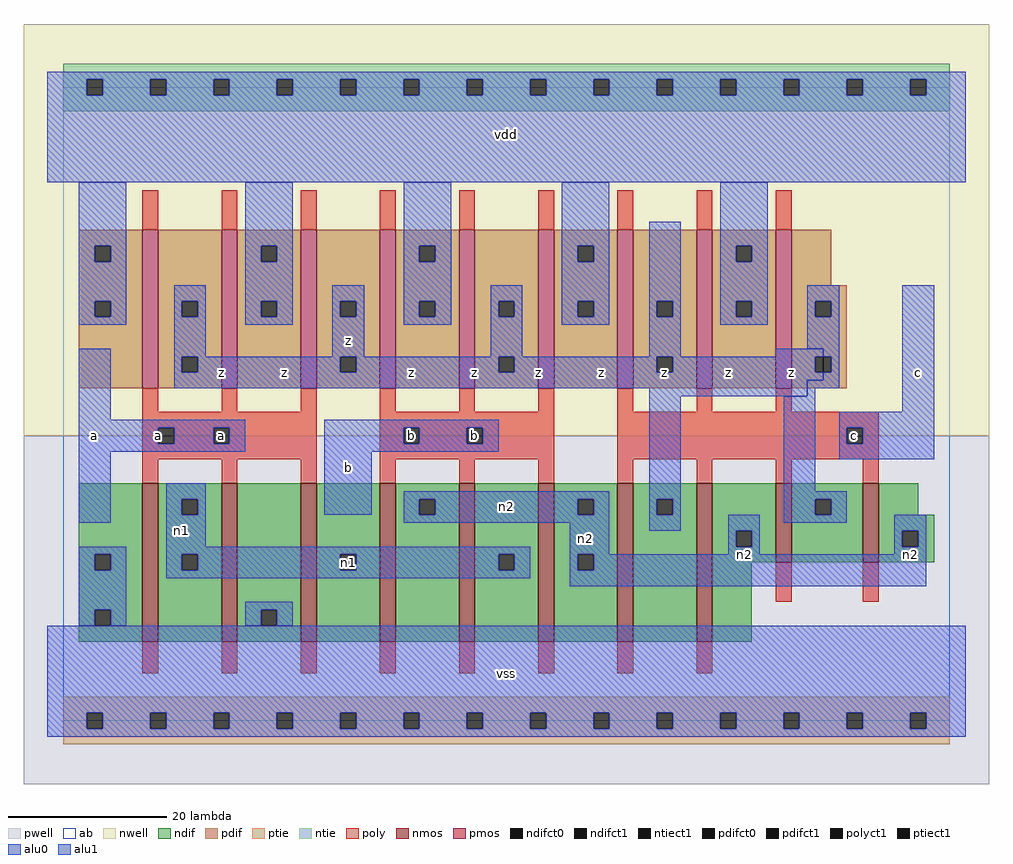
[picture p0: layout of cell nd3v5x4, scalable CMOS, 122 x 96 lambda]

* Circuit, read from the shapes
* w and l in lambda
.subckt nd3v5x4 a b c n1 n2 vdd vss z
M1 n1 a vss vss nfet w=20 l=2 m=3
M2 n2 b n1 vss nfet w=20 l=2 m=3
M3 z c n2 vss nfet w=20 l=2 m=2
M4 z c n2 vss nfet w=10 l=2 m=2
M5 z a vdd vdd pfet w=20 l=2 m=3
M6 vdd b z vdd pfet w=20 l=2 m=3
M7 z c vdd vdd pfet w=20 l=2 m=3
.ends

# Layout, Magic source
magic
tech scmos
<< ab >>
rect 0 0 112 80
<< nwell >>
rect -5 36 117 88
<< pwell >>
rect -5 -8 117 36
<< poly >>
rect 10 62 12 67
rect 20 62 22 67
rect 30 62 32 67
rect 40 62 42 67
rect 50 62 52 67
rect 60 62 62 67
rect 70 62 72 67
rect 80 62 82 67
rect 90 62 92 67
rect 10 39 12 42
rect 20 39 22 42
rect 30 39 32 42
rect 10 37 32 39
rect 10 35 12 37
rect 14 35 19 37
rect 21 35 32 37
rect 10 33 32 35
rect 10 30 12 33
rect 20 30 22 33
rect 30 30 32 33
rect 40 39 42 42
rect 50 39 52 42
rect 60 39 62 42
rect 40 37 62 39
rect 40 35 43 37
rect 45 35 51 37
rect 53 35 62 37
rect 40 33 62 35
rect 40 30 42 33
rect 50 30 52 33
rect 60 30 62 33
rect 70 39 72 42
rect 80 39 82 42
rect 90 39 92 42
rect 70 37 103 39
rect 70 35 99 37
rect 101 35 103 37
rect 70 33 103 35
rect 70 30 72 33
rect 80 30 82 33
rect 90 30 92 33
rect 101 30 103 33
rect 90 15 92 20
rect 101 15 103 20
rect 10 6 12 10
rect 20 6 22 10
rect 30 6 32 10
rect 40 6 42 10
rect 50 6 52 10
rect 60 6 62 10
rect 70 6 72 10
rect 80 6 82 10
<< ndif >>
rect 2 21 10 30
rect 2 19 4 21
rect 6 19 10 21
rect 2 14 10 19
rect 2 12 4 14
rect 6 12 10 14
rect 2 10 10 12
rect 12 28 20 30
rect 12 26 15 28
rect 17 26 20 28
rect 12 21 20 26
rect 12 19 15 21
rect 17 19 20 21
rect 12 10 20 19
rect 22 14 30 30
rect 22 12 25 14
rect 27 12 30 14
rect 22 10 30 12
rect 32 21 40 30
rect 32 19 35 21
rect 37 19 40 21
rect 32 10 40 19
rect 42 28 50 30
rect 42 26 45 28
rect 47 26 50 28
rect 42 10 50 26
rect 52 21 60 30
rect 52 19 55 21
rect 57 19 60 21
rect 52 10 60 19
rect 62 28 70 30
rect 62 26 65 28
rect 67 26 70 28
rect 62 21 70 26
rect 62 19 65 21
rect 67 19 70 21
rect 62 10 70 19
rect 72 28 80 30
rect 72 26 75 28
rect 77 26 80 28
rect 72 10 80 26
rect 82 24 90 30
rect 82 22 85 24
rect 87 22 90 24
rect 82 20 90 22
rect 92 28 101 30
rect 92 26 95 28
rect 97 26 101 28
rect 92 20 101 26
rect 103 26 108 30
rect 103 24 110 26
rect 103 22 106 24
rect 108 22 110 24
rect 103 20 110 22
rect 82 10 87 20
<< pdif >>
rect 2 60 10 62
rect 2 58 4 60
rect 6 58 10 60
rect 2 53 10 58
rect 2 51 4 53
rect 6 51 10 53
rect 2 42 10 51
rect 12 53 20 62
rect 12 51 15 53
rect 17 51 20 53
rect 12 46 20 51
rect 12 44 15 46
rect 17 44 20 46
rect 12 42 20 44
rect 22 60 30 62
rect 22 58 25 60
rect 27 58 30 60
rect 22 53 30 58
rect 22 51 25 53
rect 27 51 30 53
rect 22 42 30 51
rect 32 53 40 62
rect 32 51 35 53
rect 37 51 40 53
rect 32 46 40 51
rect 32 44 35 46
rect 37 44 40 46
rect 32 42 40 44
rect 42 60 50 62
rect 42 58 45 60
rect 47 58 50 60
rect 42 53 50 58
rect 42 51 45 53
rect 47 51 50 53
rect 42 42 50 51
rect 52 53 60 62
rect 52 51 55 53
rect 57 51 60 53
rect 52 46 60 51
rect 52 44 55 46
rect 57 44 60 46
rect 52 42 60 44
rect 62 60 70 62
rect 62 58 65 60
rect 67 58 70 60
rect 62 53 70 58
rect 62 51 65 53
rect 67 51 70 53
rect 62 42 70 51
rect 72 53 80 62
rect 72 51 75 53
rect 77 51 80 53
rect 72 46 80 51
rect 72 44 75 46
rect 77 44 80 46
rect 72 42 80 44
rect 82 60 90 62
rect 82 58 85 60
rect 87 58 90 60
rect 82 53 90 58
rect 82 51 85 53
rect 87 51 90 53
rect 82 42 90 51
rect 92 55 97 62
rect 92 53 99 55
rect 92 51 95 53
rect 97 51 99 53
rect 92 46 99 51
rect 92 44 95 46
rect 97 44 99 46
rect 92 42 99 44
<< alu1 >>
rect -2 81 114 82
rect -2 79 3 81
rect 5 79 11 81
rect 13 79 19 81
rect 21 79 27 81
rect 29 79 35 81
rect 37 79 43 81
rect 45 79 51 81
rect 53 79 59 81
rect 61 79 67 81
rect 69 79 75 81
rect 77 79 83 81
rect 85 79 91 81
rect 93 79 99 81
rect 101 79 107 81
rect 109 79 114 81
rect -2 68 114 79
rect 14 53 18 55
rect 14 51 15 53
rect 17 51 18 53
rect 2 38 6 47
rect 14 46 18 51
rect 34 53 38 55
rect 34 51 35 53
rect 37 51 38 53
rect 34 46 38 51
rect 54 53 58 55
rect 54 51 55 53
rect 57 51 58 53
rect 54 46 58 51
rect 74 53 78 63
rect 74 51 75 53
rect 77 51 78 53
rect 74 46 78 51
rect 90 46 96 47
rect 14 44 15 46
rect 17 44 35 46
rect 37 44 55 46
rect 57 44 75 46
rect 77 44 95 46
rect 14 43 96 44
rect 14 42 94 43
rect 74 41 94 42
rect 2 37 23 38
rect 2 35 12 37
rect 14 35 19 37
rect 21 35 23 37
rect 2 34 23 35
rect 33 37 55 38
rect 33 35 43 37
rect 45 35 51 37
rect 53 35 55 37
rect 33 34 55 35
rect 2 25 6 34
rect 33 26 39 34
rect 74 28 78 41
rect 74 26 75 28
rect 77 26 78 28
rect 106 39 110 55
rect 98 37 110 39
rect 98 35 99 37
rect 101 35 110 37
rect 98 33 110 35
rect 74 24 78 26
rect -2 1 114 12
rect -2 -1 3 1
rect 5 -1 11 1
rect 13 -1 19 1
rect 21 -1 27 1
rect 29 -1 35 1
rect 37 -1 43 1
rect 45 -1 51 1
rect 53 -1 59 1
rect 61 -1 67 1
rect 69 -1 75 1
rect 77 -1 83 1
rect 85 -1 91 1
rect 93 -1 99 1
rect 101 -1 107 1
rect 109 -1 114 1
rect -2 -2 114 -1
<< ptie >>
rect 0 1 112 3
rect 0 -1 3 1
rect 5 -1 11 1
rect 13 -1 19 1
rect 21 -1 27 1
rect 29 -1 35 1
rect 37 -1 43 1
rect 45 -1 51 1
rect 53 -1 59 1
rect 61 -1 67 1
rect 69 -1 75 1
rect 77 -1 83 1
rect 85 -1 91 1
rect 93 -1 99 1
rect 101 -1 107 1
rect 109 -1 112 1
rect 0 -3 112 -1
<< ntie >>
rect 0 81 112 83
rect 0 79 3 81
rect 5 79 11 81
rect 13 79 19 81
rect 21 79 27 81
rect 29 79 35 81
rect 37 79 43 81
rect 45 79 51 81
rect 53 79 59 81
rect 61 79 67 81
rect 69 79 75 81
rect 77 79 83 81
rect 85 79 91 81
rect 93 79 99 81
rect 101 79 107 81
rect 109 79 112 81
rect 0 77 112 79
<< nmos >>
rect 10 10 12 30
rect 20 10 22 30
rect 30 10 32 30
rect 40 10 42 30
rect 50 10 52 30
rect 60 10 62 30
rect 70 10 72 30
rect 80 10 82 30
rect 90 20 92 30
rect 101 20 103 30
<< pmos >>
rect 10 42 12 62
rect 20 42 22 62
rect 30 42 32 62
rect 40 42 42 62
rect 50 42 52 62
rect 60 42 62 62
rect 70 42 72 62
rect 80 42 82 62
rect 90 42 92 62
<< polyct1 >>
rect 12 35 14 37
rect 19 35 21 37
rect 43 35 45 37
rect 51 35 53 37
rect 99 35 101 37
<< ndifct0 >>
rect 4 19 6 21
rect 4 12 6 14
rect 15 26 17 28
rect 15 19 17 21
rect 25 12 27 14
rect 35 19 37 21
rect 45 26 47 28
rect 55 19 57 21
rect 65 26 67 28
rect 65 19 67 21
rect 85 22 87 24
rect 95 26 97 28
rect 106 22 108 24
<< ndifct1 >>
rect 75 26 77 28
<< ntiect1 >>
rect 3 79 5 81
rect 11 79 13 81
rect 19 79 21 81
rect 27 79 29 81
rect 35 79 37 81
rect 43 79 45 81
rect 51 79 53 81
rect 59 79 61 81
rect 67 79 69 81
rect 75 79 77 81
rect 83 79 85 81
rect 91 79 93 81
rect 99 79 101 81
rect 107 79 109 81
<< ptiect1 >>
rect 3 -1 5 1
rect 11 -1 13 1
rect 19 -1 21 1
rect 27 -1 29 1
rect 35 -1 37 1
rect 43 -1 45 1
rect 51 -1 53 1
rect 59 -1 61 1
rect 67 -1 69 1
rect 75 -1 77 1
rect 83 -1 85 1
rect 91 -1 93 1
rect 99 -1 101 1
rect 107 -1 109 1
<< pdifct0 >>
rect 4 58 6 60
rect 4 51 6 53
rect 25 58 27 60
rect 25 51 27 53
rect 45 58 47 60
rect 45 51 47 53
rect 65 58 67 60
rect 65 51 67 53
rect 85 58 87 60
rect 85 51 87 53
rect 95 51 97 53
rect 96 44 97 46
<< pdifct1 >>
rect 15 51 17 53
rect 15 44 17 46
rect 35 51 37 53
rect 35 44 37 46
rect 55 51 57 53
rect 55 44 57 46
rect 75 51 77 53
rect 75 44 77 46
rect 95 44 96 46
<< alu0 >>
rect 2 60 8 68
rect 2 58 4 60
rect 6 58 8 60
rect 2 53 8 58
rect 23 60 29 68
rect 23 58 25 60
rect 27 58 29 60
rect 2 51 4 53
rect 6 51 8 53
rect 2 50 8 51
rect 23 53 29 58
rect 43 60 49 68
rect 43 58 45 60
rect 47 58 49 60
rect 23 51 25 53
rect 27 51 29 53
rect 23 50 29 51
rect 43 53 49 58
rect 63 60 69 68
rect 63 58 65 60
rect 67 58 69 60
rect 43 51 45 53
rect 47 51 49 53
rect 43 50 49 51
rect 63 53 69 58
rect 63 51 65 53
rect 67 51 69 53
rect 63 50 69 51
rect 83 60 89 68
rect 83 58 85 60
rect 87 58 89 60
rect 83 53 89 58
rect 83 51 85 53
rect 87 51 89 53
rect 83 50 89 51
rect 94 53 98 55
rect 94 51 95 53
rect 97 51 98 53
rect 94 47 98 51
rect 96 46 98 47
rect 97 44 98 46
rect 96 43 98 44
rect 94 42 98 43
rect 94 41 95 42
rect 13 28 18 30
rect 13 26 15 28
rect 17 26 18 28
rect 43 28 69 29
rect 43 26 45 28
rect 47 26 65 28
rect 67 26 69 28
rect 13 22 18 26
rect 43 25 69 26
rect 2 21 8 22
rect 2 19 4 21
rect 6 19 8 21
rect 2 14 8 19
rect 13 21 59 22
rect 13 19 15 21
rect 17 19 35 21
rect 37 19 55 21
rect 57 19 59 21
rect 13 18 59 19
rect 64 21 69 25
rect 91 29 95 41
rect 91 28 99 29
rect 91 26 95 28
rect 97 26 99 28
rect 84 24 88 26
rect 91 25 99 26
rect 84 22 85 24
rect 87 22 88 24
rect 84 21 88 22
rect 105 24 109 26
rect 105 22 106 24
rect 108 22 109 24
rect 105 21 109 22
rect 64 19 65 21
rect 67 19 109 21
rect 64 17 109 19
rect 2 12 4 14
rect 6 12 8 14
rect 23 14 29 15
rect 23 12 25 14
rect 27 12 29 14
<< labels >>
rlabel alu0 15 24 15 24 6 n1
rlabel alu0 66 23 66 23 6 n2
rlabel ndifct0 36 20 36 20 6 n1
rlabel alu0 56 27 56 27 6 n2
rlabel alu0 107 21 107 21 6 n2
rlabel alu0 86 21 86 21 6 n2
rlabel polyct1 20 36 20 36 6 a
rlabel alu1 12 36 12 36 6 a
rlabel alu1 4 36 4 36 6 a
rlabel alu1 20 44 20 44 6 z
rlabel polyct1 52 36 52 36 6 b
rlabel polyct1 44 36 44 36 6 b
rlabel alu1 36 32 36 32 6 b
rlabel alu1 44 44 44 44 6 z
rlabel alu1 52 44 52 44 6 z
rlabel alu1 28 44 28 44 6 z
rlabel alu1 36 48 36 48 6 z
rlabel alu1 56 6 56 6 6 vss
rlabel alu1 68 44 68 44 6 z
rlabel alu1 76 44 76 44 6 z
rlabel alu1 60 44 60 44 6 z
rlabel alu1 56 74 56 74 6 vdd
rlabel polyct1 100 36 100 36 6 c
rlabel alu1 92 44 92 44 6 z
rlabel alu1 108 44 108 44 6 c
rlabel alu1 84 44 84 44 6 z
<< end >>
